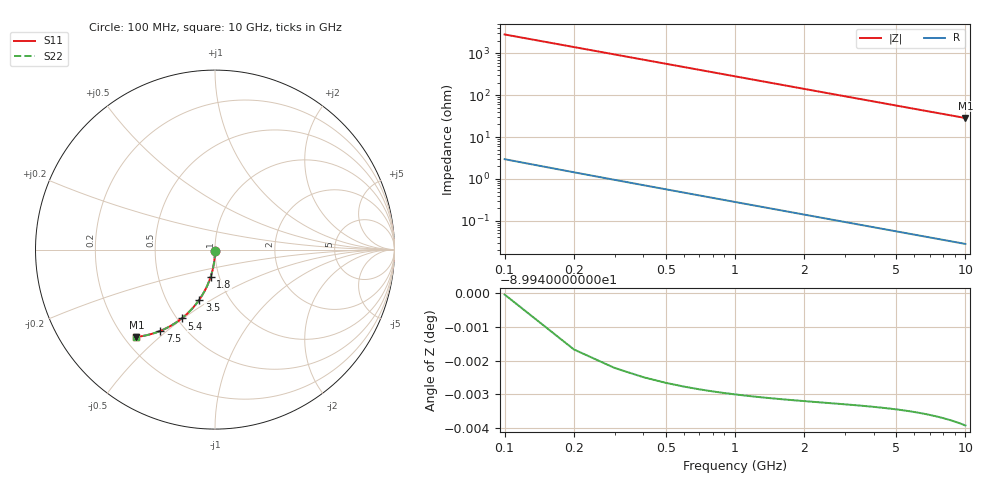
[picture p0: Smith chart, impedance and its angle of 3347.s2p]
# Hz S RI R 50.00
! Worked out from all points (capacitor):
!   100 points, 100 MHz to 10 GHz, reference 50 ohm
!   read as one part in shunt: C = 563 fF near 100 MHz
!   lowest |Z| = 28.6 ohm at 10 GHz (marker M1)
!   S11 on the Smith chart (normalised r, x): 100 MHz: 1.00, -0.02; 1.8 GHz: 0.91, -0.29; 3.5 GHz: 0.73, -0.44; 5.4 GHz: 0.53, -0.49; 7.5 GHz: 0.37, -0.47; 10 GHz: 0.25, -0.42
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1e8  -7.23e-05 -0.00875  0.9999 -0.00893  0.9999 -0.00893  -7.23e-05 -0.00875
2e8  -0.000315 -0.0175  0.9997 -0.0179  0.9997 -0.0179  -0.000315 -0.0175
3e8  -0.000714 -0.0262  0.9993 -0.0268  0.9993 -0.0268  -0.000714 -0.0262
4e8  -0.00127 -0.035  0.9987 -0.0357  0.9987 -0.0357  -0.00127 -0.035
5e8  -0.00198 -0.0437  0.998 -0.0446  0.998 -0.0446  -0.00198 -0.0437
6e8  -0.00284 -0.0524  0.9971 -0.0534  0.9971 -0.0534  -0.00284 -0.0524
8e8  -0.00503 -0.0696  0.9949 -0.0711  0.9949 -0.0711  -0.00503 -0.0696
1.1e9  -0.00944 -0.0953  0.9905 -0.0973  0.9905 -0.0973  -0.00944 -0.0953
1.4e9  -0.0152 -0.1206  0.9848 -0.1231  0.9848 -0.1231  -0.0152 -0.1206
1.8e9  -0.0248 -0.1535  0.9751 -0.1567  0.9751 -0.1567  -0.0248 -0.1535
2.1e9  -0.0334 -0.1775  0.9665 -0.1812  0.9665 -0.1812  -0.0334 -0.1775
2.5e9  -0.0467 -0.2083  0.9532 -0.2128  0.9532 -0.2128  -0.0467 -0.2083
2.9e9  -0.0618 -0.2378  0.9381 -0.243  0.9381 -0.243  -0.0618 -0.2378
3.4e9  -0.083 -0.2723  0.917 -0.2785  0.917 -0.2785  -0.083 -0.2723
3.5e9  -0.0875 -0.279  0.9124 -0.2853  0.9124 -0.2853  -0.0875 -0.279
4.3e9  -0.1263 -0.3279  0.8736 -0.3357  0.8736 -0.3357  -0.1263 -0.3279
5.1e9  -0.1689 -0.3696  0.831 -0.3789  0.831 -0.3789  -0.1689 -0.3696
5.4e9  -0.1855 -0.3833  0.8144 -0.3932  0.8144 -0.3932  -0.1855 -0.3833
6.7e9  -0.2594 -0.4317  0.7405 -0.444  0.7405 -0.444  -0.2594 -0.4317
7.5e9  -0.3049 -0.453  0.6949 -0.4668  0.6949 -0.4668  -0.3049 -0.453
8.4e9  -0.3548 -0.4702  0.645 -0.4858  0.645 -0.4858  -0.3548 -0.4702
1e10  -0.4378 -0.4863  0.562 -0.505  0.562 -0.505  -0.4378 -0.4863
